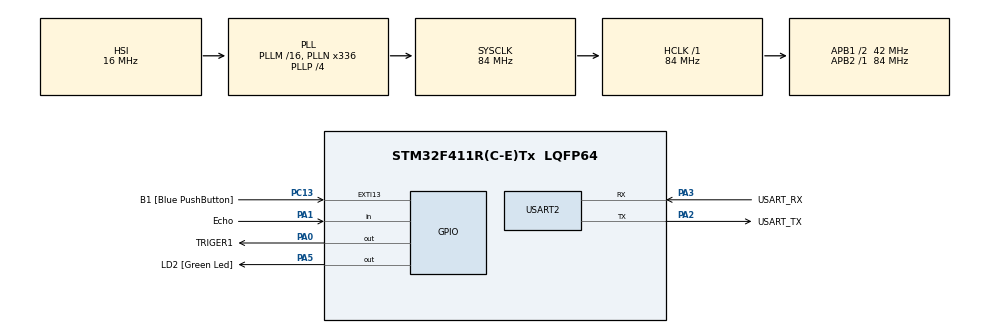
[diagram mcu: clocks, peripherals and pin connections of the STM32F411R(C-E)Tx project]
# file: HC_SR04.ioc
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Mcu.Family=STM32F4
Mcu.Name=STM32F411R(C-E)Tx
Mcu.Package=LQFP64
NVIC.PriorityGroup=NVIC_PRIORITYGROUP_0
<<<<<<< HEAD
PA0-WKUP.GPIO_Label=ECHO
PA0-WKUP.Signal=GPIO_Input
PA1.GPIO_Label=TRIG
PA1.Signal=GPIO_Output
=======
PA0-WKUP.GPIO_Label=TRIGER1
PA0-WKUP.Signal=GPIO_Output
PA1.GPIO_Label=Echo
PA1.Signal=GPIO_Input
>>>>>>> 2dc6159386b0ede83ecaa9abc19ac94ab8d850e6
PA13.GPIO_Label=TMS
PA13.Mode=Serial_Wire
PA13.Signal=SYS_JTMS-SWDIO
PA14.GPIO_Label=TCK
PA14.Mode=Serial_Wire
PA14.Signal=SYS_JTCK-SWCLK
PA2.GPIO_Label=USART_TX
PA2.Mode=Asynchronous
PA2.Signal=USART2_TX
PA3.GPIO_Label=USART_RX
PA3.Mode=Asynchronous
PA3.Signal=USART2_RX
PA5.GPIO_Label=LD2 [Green Led]
PA5.Signal=GPIO_Output
PB3.GPIO_Label=SWO
PB3.Signal=SYS_JTDO-SWO
PC13-ANTI_TAMP.GPIO_Label=B1 [Blue PushButton]
PC13-ANTI_TAMP.GPIO_ModeDefaultEXTI=GPIO_MODE_IT_FALLING
PC13-ANTI_TAMP.Signal=GPXTI13
PC14-OSC32_IN.Signal=RCC_OSC32_IN
PC15-OSC32_OUT.Signal=RCC_OSC32_OUT
PH0\ -\ OSC_IN.Signal=RCC_OSC_IN
PH1\ -\ OSC_OUT.Signal=RCC_OSC_OUT
ProjectManager.HeapSize=0x200
ProjectManager.StackSize=0x400
ProjectManager.TargetToolchain=STM32CubeIDE
RCC.48MHZClocksFreq_Value=84000000
RCC.AHBFreq_Value=84000000
RCC.APB1CLKDivider=RCC_HCLK_DIV2
RCC.APB1Freq_Value=42000000
RCC.APB1TimFreq_Value=84000000
RCC.APB2Freq_Value=84000000
RCC.APB2TimFreq_Value=84000000
RCC.CortexFreq_Value=84000000
RCC.FLatency-AdvancedSettings=FLASH_LATENCY_2
RCC.HCLKFreq_Value=84000000
RCC.HSE_VALUE=8000000
RCC.HSI_VALUE=16000000
RCC.LSE_VALUE=32768
RCC.PLLN=336
RCC.PLLP=RCC_PLLP_DIV4
RCC.SYSCLKFreq_VALUE=84000000
RCC.SYSCLKSource=RCC_SYSCLKSOURCE_PLLCLK
RCC.VCOOutputFreq_Value=336000000
TIM1.AutoReloadPreload=TIM_AUTORELOAD_PRELOAD_ENABLE
TIM1.Prescaler=84-1
USART2.VirtualMode=VM_ASYNC
VP_TIM1_VS_ClockSourceINT.Mode=Internal
board=NUCLEO-F411RE

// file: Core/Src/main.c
/* USER CODE BEGIN Header */
/**
  ******************************************************************************
  * @file           : main.c
  * @brief          : Main program body
  ******************************************************************************
  * @attention
  *
  * Copyright (c) 2026 STMicroelectronics.
  * All rights reserved.
  *
  * This software is licensed under terms that can be found in the LICENSE file
  * in the root directory of this software component.
  * If no LICENSE file comes with this software, it is provided AS-IS.
  *
  ******************************************************************************
  */
/* USER CODE END Header */
#include "main.h"

/* USER CODE BEGIN Includes */
#include "stdio.h"
<<<<<<< HEAD
#include "ultrasonic.h"
=======
>>>>>>> 2dc6159386b0ede83ecaa9abc19ac94ab8d850e6
/* USER CODE END Includes */

/* USER CODE BEGIN PD */
#define HIGH 	1
#define LOW 	0
long unsigned int echo_time;
int dist;
/* USER CODE END PD */

TIM_HandleTypeDef htim1;

UART_HandleTypeDef huart2;

void SystemClock_Config(void);
static void MX_GPIO_Init(void);
static void MX_USART2_UART_Init(void);
static void MX_TIM1_Init(void);

/* USER CODE BEGIN 0 */
#ifdef __GNUC__
/* With GCC, small printf (option LD Linker->Libraries->Small printf
   set to 'Yes') calls __io_putchar() */
#define PUTCHAR_PROTOTYPE int __io_putchar(int ch)
#else
#define PUTCHAR_PROTOTYPE int fputc(int ch, FILE *f)
#endif /* __GNUC__ */

/**
  * @brief  Retargets the C library printf function to the USART.
  * @param  None
  * @retval None
  */
PUTCHAR_PROTOTYPE
{
  /* Place your implementation of fputc here */
  /* e.g. write a character to the USART1 and Loop until the end of transmission */
  if (ch == '\n')
    HAL_UART_Transmit (&huart2, (uint8_t*) "\r", 1, 0xFFFF);
  HAL_UART_Transmit (&huart2, (uint8_t*) &ch, 1, 0xFFFF);

  return ch;
}

<<<<<<< HEAD
//void timer_start(void)
//{
//   HAL_TIM_Base_Start(&htim1);
//}
//
//void delay_us(uint16_t us)
//{
//   __HAL_TIM_SET_COUNTER(&htim1, 0); // initislize counter to start from 0
//   while((__HAL_TIM_GET_COUNTER(&htim1))<us); // wait count until us
//}
//
//void trig(void)
//{
//   HAL_GPIO_WritePin(TRIG_GPIO_Port, TRIG_Pin, HIGH);
//   delay_us(10);
//   HAL_GPIO_WritePin(TRIG_GPIO_Port, TRIG_Pin, LOW);
//}
//
///**
//* @brief echo 신호가 HIGH를 유지하는 시간을 (㎲)단위로 측정하여 리턴한다.
//* @param no param(void)
//*/
//long unsigned int echo(void)
//{
//   long unsigned int echo = 0;
//
//   while(HAL_GPIO_ReadPin(ECHO_GPIO_Port, ECHO_Pin) == LOW){}
//        __HAL_TIM_SET_COUNTER(&htim1, 0);
//        while(HAL_GPIO_ReadPin(ECHO_GPIO_Port, ECHO_Pin) == HIGH);
//        echo = __HAL_TIM_GET_COUNTER(&htim1);
//   if( echo >= 240 && echo <= 23000 ) return echo;
//   else return 0;
//}

static void Sensor_Task(void)
{
  Ultrasonic_Result result;
  char line[80];

  Ultrasonic_Task();

  if (Ultrasonic_GetResult(&result) != 0U)
  {
    (void)snprintf(line, sizeof(line), "D,%lu,%u,%u,%lu\r\n",
                   (unsigned long)result.timestamp_ms,
                   (unsigned int)result.distance_mm,
                   (unsigned int)result.valid,
                   (unsigned long)result.errors);
    printf(line);
  }
}
=======
void timer_start(void)
{
   HAL_TIM_Base_Start(&htim1);
}

void delay_us(uint16_t us)
{
   __HAL_TIM_SET_COUNTER(&htim1, 0); // initislize counter to start from 0
   while((__HAL_TIM_GET_COUNTER(&htim1))<us); // wait count until us
}

void trig(void)
{
   HAL_GPIO_WritePin(TRIGER1_GPIO_Port, TRIGER1_Pin, HIGH);
   delay_us(10);
   HAL_GPIO_WritePin(TRIGER1_GPIO_Port, TRIGER1_Pin, LOW);
}

/**
* @brief echo 신호가 HIGH를 유지하는 시간을 (㎲)단위로 측정하여 리턴한다.
* @param no param(void)
*/
long unsigned int echo(void)
{
   long unsigned int echo = 0;

   while(HAL_GPIO_ReadPin(Echo_GPIO_Port, Echo_Pin) == LOW){}
        __HAL_TIM_SET_COUNTER(&htim1, 0);
        while(HAL_GPIO_ReadPin(Echo_GPIO_Port, Echo_Pin) == HIGH);
        echo = __HAL_TIM_GET_COUNTER(&htim1);
   if( echo >= 240 && echo <= 23000 ) return echo;
   else return 0;
}

>>>>>>> 2dc6159386b0ede83ecaa9abc19ac94ab8d850e6
/* USER CODE END 0 */

int main(void)
{

  /* MCU Configuration--------------------------------------------------------*/

  /* Reset of all peripherals, Initializes the Flash interface and the Systick. */
  HAL_Init();

  /* Configure the system clock */
  SystemClock_Config();

  /* Initialize all configured peripherals */
  MX_GPIO_Init();
  MX_USART2_UART_Init();
  MX_TIM1_Init();
  /* USER CODE BEGIN 2 */
<<<<<<< HEAD
  Ultrasonic_Init();
//  timer_start();
=======
  timer_start();
>>>>>>> 2dc6159386b0ede83ecaa9abc19ac94ab8d850e6
  /* USER CODE END 2 */

  /* Infinite loop */
  /* USER CODE BEGIN WHILE */
  while (1)
  {
<<<<<<< HEAD
	  Sensor_Task();
=======
	  trig();
	  echo_time = echo();
		  if( echo_time != 0){
			  dist = (int)(17 * echo_time / 100);
			  printf("Distance = %d(mm)\n", dist);
		  }
		  else printf("Out of Range!\n");
	  HAL_Delay(300);
>>>>>>> 2dc6159386b0ede83ecaa9abc19ac94ab8d850e6
    /* USER CODE END WHILE */

  }
}

void SystemClock_Config(void)
{
  RCC_OscInitTypeDef RCC_OscInitStruct = {0};
  RCC_ClkInitTypeDef RCC_ClkInitStruct = {0};

  /** Configure the main internal regulator output voltage
  */
  __HAL_RCC_PWR_CLK_ENABLE();
  __HAL_PWR_VOLTAGESCALING_CONFIG(PWR_REGULATOR_VOLTAGE_SCALE1);

  /** Initializes the RCC Oscillators according to the specified parameters
  * in the RCC_OscInitTypeDef structure.
  */
  RCC_OscInitStruct.OscillatorType = RCC_OSCILLATORTYPE_HSI;
  RCC_OscInitStruct.HSIState = RCC_HSI_ON;
  RCC_OscInitStruct.HSICalibrationValue = RCC_HSICALIBRATION_DEFAULT;
  RCC_OscInitStruct.PLL.PLLState = RCC_PLL_ON;
  RCC_OscInitStruct.PLL.PLLSource = RCC_PLLSOURCE_HSI;
  RCC_OscInitStruct.PLL.PLLM = 16;
  RCC_OscInitStruct.PLL.PLLN = 336;
  RCC_OscInitStruct.PLL.PLLP = RCC_PLLP_DIV4;
  RCC_OscInitStruct.PLL.PLLQ = 4;
  if (HAL_RCC_OscConfig(&RCC_OscInitStruct) != HAL_OK)
  {
    Error_Handler();
  }

  /** Initializes the CPU, AHB and APB buses clocks
  */
  RCC_ClkInitStruct.ClockType = RCC_CLOCKTYPE_HCLK|RCC_CLOCKTYPE_SYSCLK
                              |RCC_CLOCKTYPE_PCLK1|RCC_CLOCKTYPE_PCLK2;
  RCC_ClkInitStruct.SYSCLKSource = RCC_SYSCLKSOURCE_PLLCLK;
  RCC_ClkInitStruct.AHBCLKDivider = RCC_SYSCLK_DIV1;
  RCC_ClkInitStruct.APB1CLKDivider = RCC_HCLK_DIV2;
  RCC_ClkInitStruct.APB2CLKDivider = RCC_HCLK_DIV1;

  if (HAL_RCC_ClockConfig(&RCC_ClkInitStruct, FLASH_LATENCY_2) != HAL_OK)
  {
    Error_Handler();
  }
}

static void MX_TIM1_Init(void)
{

  TIM_ClockConfigTypeDef sClockSourceConfig = {0};
  TIM_MasterConfigTypeDef sMasterConfig = {0};

  htim1.Instance = TIM1;
  htim1.Init.Prescaler = 84-1;
  htim1.Init.CounterMode = TIM_COUNTERMODE_UP;
  htim1.Init.Period = 65535;
  htim1.Init.ClockDivision = TIM_CLOCKDIVISION_DIV1;
  htim1.Init.RepetitionCounter = 0;
  htim1.Init.AutoReloadPreload = TIM_AUTORELOAD_PRELOAD_ENABLE;
  if (HAL_TIM_Base_Init(&htim1) != HAL_OK)
  {
    Error_Handler();
  }
  sClockSourceConfig.ClockSource = TIM_CLOCKSOURCE_INTERNAL;
  if (HAL_TIM_ConfigClockSource(&htim1, &sClockSourceConfig) != HAL_OK)
  {
    Error_Handler();
  }
  sMasterConfig.MasterOutputTrigger = TIM_TRGO_RESET;
  sMasterConfig.MasterSlaveMode = TIM_MASTERSLAVEMODE_DISABLE;
  if (HAL_TIMEx_MasterConfigSynchronization(&htim1, &sMasterConfig) != HAL_OK)
  {
    Error_Handler();
  }

}

static void MX_USART2_UART_Init(void)
{

  huart2.Instance = USART2;
  huart2.Init.BaudRate = 115200;
  huart2.Init.WordLength = UART_WORDLENGTH_8B;
  huart2.Init.StopBits = UART_STOPBITS_1;
  huart2.Init.Parity = UART_PARITY_NONE;
  huart2.Init.Mode = UART_MODE_TX_RX;
  huart2.Init.HwFlowCtl = UART_HWCONTROL_NONE;
  huart2.Init.OverSampling = UART_OVERSAMPLING_16;
  if (HAL_UART_Init(&huart2) != HAL_OK)
  {
    Error_Handler();
  }

}

static void MX_GPIO_Init(void)
{
  GPIO_InitTypeDef GPIO_InitStruct = {0};

  /* GPIO Ports Clock Enable */
  __HAL_RCC_GPIOC_CLK_ENABLE();
  __HAL_RCC_GPIOH_CLK_ENABLE();
  __HAL_RCC_GPIOA_CLK_ENABLE();
  __HAL_RCC_GPIOB_CLK_ENABLE();

  /*Configure GPIO pin Output Level */
<<<<<<< HEAD
  HAL_GPIO_WritePin(GPIOA, TRIG_Pin|LD2_Pin, GPIO_PIN_RESET);
=======
  HAL_GPIO_WritePin(GPIOA, TRIGER1_Pin|LD2_Pin, GPIO_PIN_RESET);
>>>>>>> 2dc6159386b0ede83ecaa9abc19ac94ab8d850e6

  /*Configure GPIO pin : B1_Pin */
  GPIO_InitStruct.Pin = B1_Pin;
  GPIO_InitStruct.Mode = GPIO_MODE_IT_FALLING;
  GPIO_InitStruct.Pull = GPIO_NOPULL;
  HAL_GPIO_Init(B1_GPIO_Port, &GPIO_InitStruct);

<<<<<<< HEAD
  /*Configure GPIO pin : ECHO_Pin */
  GPIO_InitStruct.Pin = ECHO_Pin;
  GPIO_InitStruct.Mode = GPIO_MODE_INPUT;
  GPIO_InitStruct.Pull = GPIO_NOPULL;
  HAL_GPIO_Init(ECHO_GPIO_Port, &GPIO_InitStruct);

  /*Configure GPIO pins : TRIG_Pin LD2_Pin */
  GPIO_InitStruct.Pin = TRIG_Pin|LD2_Pin;
=======
  /*Configure GPIO pins : TRIGER1_Pin LD2_Pin */
  GPIO_InitStruct.Pin = TRIGER1_Pin|LD2_Pin;
>>>>>>> 2dc6159386b0ede83ecaa9abc19ac94ab8d850e6
  GPIO_InitStruct.Mode = GPIO_MODE_OUTPUT_PP;
  GPIO_InitStruct.Pull = GPIO_NOPULL;
  GPIO_InitStruct.Speed = GPIO_SPEED_FREQ_LOW;
  HAL_GPIO_Init(GPIOA, &GPIO_InitStruct);

<<<<<<< HEAD
=======
  /*Configure GPIO pin : Echo_Pin */
  GPIO_InitStruct.Pin = Echo_Pin;
  GPIO_InitStruct.Mode = GPIO_MODE_INPUT;
  GPIO_InitStruct.Pull = GPIO_NOPULL;
  HAL_GPIO_Init(Echo_GPIO_Port, &GPIO_InitStruct);

>>>>>>> 2dc6159386b0ede83ecaa9abc19ac94ab8d850e6
}

/* USER CODE BEGIN 4 */
<<<<<<< HEAD
void HAL_GPIO_EXTI_Callback(uint16_t GPIO_Pin)
{
  if (GPIO_Pin == GPIO_PIN_0)
  {
    Ultrasonic_OnEchoEdge();
  }
}
=======

>>>>>>> 2dc6159386b0ede83ecaa9abc19ac94ab8d850e6
/* USER CODE END 4 */

void Error_Handler(void)
{
  __disable_irq();
  while (1)
  {
  }
}
